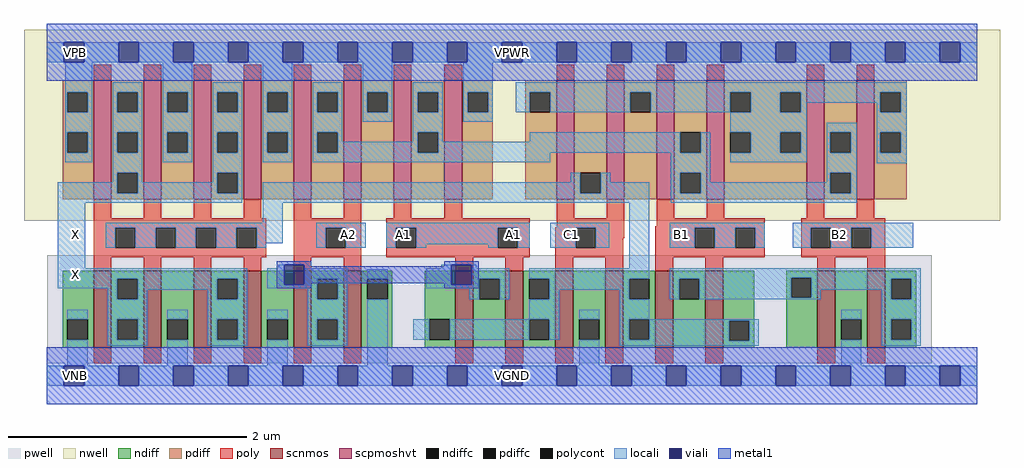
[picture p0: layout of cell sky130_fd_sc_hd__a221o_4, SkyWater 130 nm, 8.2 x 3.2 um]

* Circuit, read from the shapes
.subckt sky130_fd_sc_hd__a221o_4 A1 A2 B1 B2 C1 VGND VNB VPB VPWR X
XM1 X n1 VGND VNB sky130_fd_pr__nfet_01v8 w=0.65 l=0.15 m=4
XM2 n2 A2 VGND VNB sky130_fd_pr__nfet_01v8 w=0.65 l=0.15 m=2
XM3 n2 A1 n1 VNB sky130_fd_pr__nfet_01v8 w=0.65 l=0.15 m=2
XM4 VGND C1 n1 VNB sky130_fd_pr__nfet_01v8 w=0.65 l=0.15 m=2
XM5 n3 B1 n1 VNB sky130_fd_pr__nfet_01v8 w=0.65 l=0.15 m=2
XM6 VGND B2 n3 VNB sky130_fd_pr__nfet_01v8 w=0.65 l=0.15 m=2
XM7 X n1 VPWR VPB sky130_fd_pr__pfet_01v8_hvt w=1 l=0.15 m=4
XM8 n4 A2 VPWR VPB sky130_fd_pr__pfet_01v8_hvt w=1 l=0.15 m=2
XM9 n4 A1 VPWR VPB sky130_fd_pr__pfet_01v8_hvt w=1 l=0.15 m=2
XM10 n1 C1 n5 VPB sky130_fd_pr__pfet_01v8_hvt w=1 l=0.15 m=2
XM11 n4 B1 n5 VPB sky130_fd_pr__pfet_01v8_hvt w=1 l=0.15 m=2
XM12 n4 B2 n5 VPB sky130_fd_pr__pfet_01v8_hvt w=1 l=0.15 m=2
.ends

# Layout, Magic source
magic
tech sky130B
magscale 1 2
<< nwell >>
rect -38 261 1602 582
<< pwell >>
rect 1 21 1487 203
rect 31 -17 65 21
<< scnmos >>
rect 79 47 109 177
rect 163 47 193 177
rect 247 47 277 177
rect 331 47 361 177
rect 415 47 445 177
rect 499 47 529 177
rect 687 47 717 177
rect 771 47 801 177
rect 855 47 885 177
rect 939 47 969 177
rect 1023 47 1053 177
rect 1107 47 1137 177
rect 1295 47 1325 177
rect 1379 47 1409 177
<< scpmoshvt >>
rect 79 297 109 497
rect 163 297 193 497
rect 247 297 277 497
rect 331 297 361 497
rect 415 297 445 497
rect 499 297 529 497
rect 583 297 613 497
rect 668 297 698 497
rect 857 297 887 497
rect 941 297 971 497
rect 1025 297 1055 497
rect 1109 297 1139 497
rect 1277 297 1307 497
rect 1361 297 1391 497
<< ndiff >>
rect 27 95 79 177
rect 27 61 35 95
rect 69 61 79 95
rect 27 47 79 61
rect 109 163 163 177
rect 109 129 119 163
rect 153 129 163 163
rect 109 95 163 129
rect 109 61 119 95
rect 153 61 163 95
rect 109 47 163 61
rect 193 95 247 177
rect 193 61 203 95
rect 237 61 247 95
rect 193 47 247 61
rect 277 163 331 177
rect 277 129 287 163
rect 321 129 331 163
rect 277 95 331 129
rect 277 61 287 95
rect 321 61 331 95
rect 277 47 331 61
rect 361 95 415 177
rect 361 61 371 95
rect 405 61 415 95
rect 361 47 415 61
rect 445 163 499 177
rect 445 129 455 163
rect 489 129 499 163
rect 445 95 499 129
rect 445 61 455 95
rect 489 61 499 95
rect 445 47 499 61
rect 529 163 581 177
rect 529 129 539 163
rect 573 129 581 163
rect 529 47 581 129
rect 635 95 687 177
rect 635 61 643 95
rect 677 61 687 95
rect 635 47 687 61
rect 717 163 771 177
rect 717 129 727 163
rect 761 129 771 163
rect 717 47 771 129
rect 801 163 855 177
rect 801 129 811 163
rect 845 129 855 163
rect 801 95 855 129
rect 801 61 811 95
rect 845 61 855 95
rect 801 47 855 61
rect 885 95 939 177
rect 885 61 895 95
rect 929 61 939 95
rect 885 47 939 61
rect 969 163 1023 177
rect 969 129 979 163
rect 1013 129 1023 163
rect 969 95 1023 129
rect 969 61 979 95
rect 1013 61 1023 95
rect 969 47 1023 61
rect 1053 163 1107 177
rect 1053 129 1063 163
rect 1097 129 1107 163
rect 1053 47 1107 129
rect 1137 93 1189 177
rect 1137 59 1147 93
rect 1181 59 1189 93
rect 1137 47 1189 59
rect 1243 165 1295 177
rect 1243 131 1251 165
rect 1285 131 1295 165
rect 1243 47 1295 131
rect 1325 95 1379 177
rect 1325 61 1335 95
rect 1369 61 1379 95
rect 1325 47 1379 61
rect 1409 163 1461 177
rect 1409 129 1419 163
rect 1453 129 1461 163
rect 1409 95 1461 129
rect 1409 61 1419 95
rect 1453 61 1461 95
rect 1409 47 1461 61
<< pdiff >>
rect 27 477 79 497
rect 27 443 35 477
rect 69 443 79 477
rect 27 409 79 443
rect 27 375 35 409
rect 69 375 79 409
rect 27 297 79 375
rect 109 477 163 497
rect 109 443 119 477
rect 153 443 163 477
rect 109 409 163 443
rect 109 375 119 409
rect 153 375 163 409
rect 109 341 163 375
rect 109 307 119 341
rect 153 307 163 341
rect 109 297 163 307
rect 193 477 247 497
rect 193 443 203 477
rect 237 443 247 477
rect 193 409 247 443
rect 193 375 203 409
rect 237 375 247 409
rect 193 297 247 375
rect 277 477 331 497
rect 277 443 287 477
rect 321 443 331 477
rect 277 409 331 443
rect 277 375 287 409
rect 321 375 331 409
rect 277 341 331 375
rect 277 307 287 341
rect 321 307 331 341
rect 277 297 331 307
rect 361 477 415 497
rect 361 443 371 477
rect 405 443 415 477
rect 361 409 415 443
rect 361 375 371 409
rect 405 375 415 409
rect 361 297 415 375
rect 445 477 499 497
rect 445 443 455 477
rect 489 443 499 477
rect 445 409 499 443
rect 445 375 455 409
rect 489 375 499 409
rect 445 297 499 375
rect 529 477 583 497
rect 529 443 539 477
rect 573 443 583 477
rect 529 297 583 443
rect 613 477 668 497
rect 613 443 624 477
rect 658 443 668 477
rect 613 409 668 443
rect 613 375 624 409
rect 658 375 668 409
rect 613 297 668 375
rect 698 477 750 497
rect 698 443 708 477
rect 742 443 750 477
rect 698 297 750 443
rect 804 477 857 497
rect 804 443 812 477
rect 846 443 857 477
rect 804 297 857 443
rect 887 341 941 497
rect 887 307 897 341
rect 931 307 941 341
rect 887 297 941 307
rect 971 477 1025 497
rect 971 443 981 477
rect 1015 443 1025 477
rect 971 297 1025 443
rect 1055 409 1109 497
rect 1055 375 1065 409
rect 1099 375 1109 409
rect 1055 341 1109 375
rect 1055 307 1065 341
rect 1099 307 1109 341
rect 1055 297 1109 307
rect 1139 477 1277 497
rect 1139 443 1149 477
rect 1183 443 1233 477
rect 1267 443 1277 477
rect 1139 409 1277 443
rect 1139 375 1149 409
rect 1183 375 1233 409
rect 1267 375 1277 409
rect 1139 297 1277 375
rect 1307 409 1361 497
rect 1307 375 1317 409
rect 1351 375 1361 409
rect 1307 341 1361 375
rect 1307 307 1317 341
rect 1351 307 1361 341
rect 1307 297 1361 307
rect 1391 477 1445 497
rect 1391 443 1401 477
rect 1435 443 1445 477
rect 1391 409 1445 443
rect 1391 375 1401 409
rect 1435 375 1445 409
rect 1391 297 1445 375
<< ndiffc >>
rect 35 61 69 95
rect 119 129 153 163
rect 119 61 153 95
rect 203 61 237 95
rect 287 129 321 163
rect 287 61 321 95
rect 371 61 405 95
rect 455 129 489 163
rect 455 61 489 95
rect 539 129 573 163
rect 643 61 677 95
rect 727 129 761 163
rect 811 129 845 163
rect 811 61 845 95
rect 895 61 929 95
rect 979 129 1013 163
rect 979 61 1013 95
rect 1063 129 1097 163
rect 1147 59 1181 93
rect 1251 131 1285 165
rect 1335 61 1369 95
rect 1419 129 1453 163
rect 1419 61 1453 95
<< pdiffc >>
rect 35 443 69 477
rect 35 375 69 409
rect 119 443 153 477
rect 119 375 153 409
rect 119 307 153 341
rect 203 443 237 477
rect 203 375 237 409
rect 287 443 321 477
rect 287 375 321 409
rect 287 307 321 341
rect 371 443 405 477
rect 371 375 405 409
rect 455 443 489 477
rect 455 375 489 409
rect 539 443 573 477
rect 624 443 658 477
rect 624 375 658 409
rect 708 443 742 477
rect 812 443 846 477
rect 897 307 931 341
rect 981 443 1015 477
rect 1065 375 1099 409
rect 1065 307 1099 341
rect 1149 443 1183 477
rect 1233 443 1267 477
rect 1149 375 1183 409
rect 1233 375 1267 409
rect 1317 375 1351 409
rect 1317 307 1351 341
rect 1401 443 1435 477
rect 1401 375 1435 409
<< poly >>
rect 79 497 109 523
rect 163 497 193 523
rect 247 497 277 523
rect 331 497 361 523
rect 415 497 445 523
rect 499 497 529 523
rect 583 497 613 523
rect 668 497 698 523
rect 857 497 887 523
rect 941 497 971 523
rect 1025 497 1055 523
rect 1109 497 1139 523
rect 1277 497 1307 523
rect 1361 497 1391 523
rect 79 265 109 297
rect 163 265 193 297
rect 247 265 277 297
rect 331 265 361 297
rect 415 265 445 297
rect 499 265 529 297
rect 583 265 613 297
rect 668 265 698 297
rect 857 265 887 297
rect 941 265 971 297
rect 79 249 369 265
rect 79 215 115 249
rect 149 215 183 249
rect 217 215 251 249
rect 285 215 319 249
rect 353 215 369 249
rect 79 199 369 215
rect 415 249 529 265
rect 415 215 469 249
rect 503 215 529 249
rect 415 199 529 215
rect 571 249 812 265
rect 857 250 971 265
rect 1025 265 1055 297
rect 1109 265 1139 297
rect 1277 265 1307 297
rect 1361 265 1391 297
rect 1025 251 1207 265
rect 571 215 587 249
rect 621 215 758 249
rect 792 215 812 249
rect 571 199 812 215
rect 855 249 971 250
rect 855 215 889 249
rect 923 231 971 249
rect 1023 249 1207 251
rect 923 215 969 231
rect 855 199 969 215
rect 79 177 109 199
rect 163 177 193 199
rect 247 177 277 199
rect 331 177 361 199
rect 415 177 445 199
rect 499 177 529 199
rect 687 177 717 199
rect 771 177 801 199
rect 855 177 885 199
rect 939 177 969 199
rect 1023 215 1089 249
rect 1123 215 1157 249
rect 1191 215 1207 249
rect 1023 199 1207 215
rect 1268 249 1409 265
rect 1268 215 1284 249
rect 1318 215 1352 249
rect 1386 215 1409 249
rect 1268 199 1409 215
rect 1023 177 1053 199
rect 1107 177 1137 199
rect 1295 177 1325 199
rect 1379 177 1409 199
rect 79 21 109 47
rect 163 21 193 47
rect 247 21 277 47
rect 331 21 361 47
rect 415 21 445 47
rect 499 21 529 47
rect 687 21 717 47
rect 771 21 801 47
rect 855 21 885 47
rect 939 21 969 47
rect 1023 21 1053 47
rect 1107 21 1137 47
rect 1295 21 1325 47
rect 1379 21 1409 47
<< polycont >>
rect 115 215 149 249
rect 183 215 217 249
rect 251 215 285 249
rect 319 215 353 249
rect 469 215 503 249
rect 587 215 621 249
rect 758 215 792 249
rect 889 215 923 249
rect 1089 215 1123 249
rect 1157 215 1191 249
rect 1284 215 1318 249
rect 1352 215 1386 249
<< locali >>
rect 0 527 29 561
rect 63 527 121 561
rect 155 527 213 561
rect 247 527 305 561
rect 339 527 397 561
rect 431 527 489 561
rect 523 527 581 561
rect 615 527 673 561
rect 707 527 765 561
rect 799 527 857 561
rect 891 527 949 561
rect 983 527 1041 561
rect 1075 527 1133 561
rect 1167 527 1225 561
rect 1259 527 1317 561
rect 1351 527 1409 561
rect 1443 527 1501 561
rect 1535 527 1564 561
rect 31 477 77 527
rect 31 443 35 477
rect 69 443 77 477
rect 31 409 77 443
rect 31 375 35 409
rect 69 375 77 409
rect 31 359 77 375
rect 111 477 161 493
rect 111 443 119 477
rect 153 443 161 477
rect 111 409 161 443
rect 111 375 119 409
rect 153 375 161 409
rect 111 341 161 375
rect 195 477 245 527
rect 195 443 203 477
rect 237 443 245 477
rect 195 409 245 443
rect 195 375 203 409
rect 237 375 245 409
rect 195 359 245 375
rect 279 477 329 493
rect 279 443 287 477
rect 321 443 329 477
rect 279 409 329 443
rect 279 375 287 409
rect 321 375 329 409
rect 111 325 119 341
rect 19 307 119 325
rect 153 325 161 341
rect 279 341 329 375
rect 363 477 413 527
rect 363 443 371 477
rect 405 443 413 477
rect 363 409 413 443
rect 363 375 371 409
rect 405 375 413 409
rect 363 359 413 375
rect 447 477 497 493
rect 447 443 455 477
rect 489 443 497 477
rect 447 409 497 443
rect 531 477 581 527
rect 531 443 539 477
rect 573 443 581 477
rect 531 427 581 443
rect 615 477 666 493
rect 615 443 624 477
rect 658 443 666 477
rect 447 375 455 409
rect 489 393 497 409
rect 615 409 666 443
rect 700 477 750 527
rect 700 443 708 477
rect 742 443 750 477
rect 788 477 1445 493
rect 788 443 812 477
rect 846 443 981 477
rect 1015 443 1149 477
rect 1183 443 1233 477
rect 1267 459 1401 477
rect 1267 443 1277 459
rect 700 427 750 443
rect 1149 409 1277 443
rect 1395 443 1401 459
rect 1435 443 1445 477
rect 615 393 624 409
rect 489 375 624 393
rect 658 393 666 409
rect 812 393 1065 409
rect 658 375 1065 393
rect 1099 375 1115 409
rect 447 359 846 375
rect 1049 341 1115 375
rect 1183 375 1233 409
rect 1267 375 1277 409
rect 1149 359 1277 375
rect 1311 409 1361 425
rect 1311 375 1317 409
rect 1351 375 1361 409
rect 279 325 287 341
rect 153 307 287 325
rect 321 307 329 341
rect 881 325 897 341
rect 19 291 329 307
rect 363 307 897 325
rect 931 325 947 341
rect 931 307 1013 325
rect 363 291 1013 307
rect 1049 307 1065 341
rect 1099 325 1115 341
rect 1311 341 1361 375
rect 1395 409 1445 443
rect 1395 375 1401 409
rect 1435 375 1445 409
rect 1395 357 1445 375
rect 1311 325 1317 341
rect 1099 307 1317 325
rect 1351 307 1361 341
rect 1049 291 1361 307
rect 19 181 65 291
rect 363 257 397 291
rect 99 249 397 257
rect 99 215 115 249
rect 149 215 183 249
rect 217 215 251 249
rect 285 215 319 249
rect 353 223 397 249
rect 453 249 536 257
rect 353 215 369 223
rect 453 215 469 249
rect 503 215 536 249
rect 571 249 812 257
rect 571 215 587 249
rect 621 221 758 249
rect 621 215 638 221
rect 742 215 758 221
rect 792 215 812 249
rect 846 249 945 257
rect 846 215 889 249
rect 923 215 945 249
rect 389 181 399 187
rect 19 163 337 181
rect 19 147 119 163
rect 103 129 119 147
rect 153 145 287 163
rect 153 129 169 145
rect 35 95 69 111
rect 35 17 69 61
rect 103 95 169 129
rect 271 129 287 145
rect 321 129 337 163
rect 371 153 399 181
rect 663 181 680 187
rect 433 163 505 181
rect 433 153 455 163
rect 371 147 455 153
rect 103 61 119 95
rect 153 61 169 95
rect 103 51 169 61
rect 203 95 237 111
rect 203 17 237 61
rect 271 95 337 129
rect 439 129 455 147
rect 489 129 505 163
rect 271 61 287 95
rect 321 61 337 95
rect 271 51 337 61
rect 371 95 405 111
rect 371 17 405 61
rect 439 95 505 129
rect 439 61 455 95
rect 489 61 505 95
rect 439 51 505 61
rect 539 163 573 179
rect 638 153 680 181
rect 714 181 722 187
rect 979 181 1013 291
rect 1047 249 1207 257
rect 1047 215 1089 249
rect 1123 215 1157 249
rect 1191 215 1207 249
rect 1254 249 1456 257
rect 1254 215 1284 249
rect 1318 215 1352 249
rect 1386 215 1456 249
rect 714 163 777 181
rect 714 153 727 163
rect 638 147 727 153
rect 710 129 727 147
rect 761 129 777 163
rect 811 163 1013 181
rect 845 145 979 163
rect 845 129 861 145
rect 539 17 573 129
rect 811 95 861 129
rect 963 129 979 145
rect 1047 165 1469 181
rect 1047 163 1251 165
rect 1047 129 1063 163
rect 1097 131 1251 163
rect 1285 163 1469 165
rect 1285 145 1419 163
rect 1285 131 1301 145
rect 1097 129 1301 131
rect 1403 129 1419 145
rect 1453 129 1469 163
rect 616 61 643 95
rect 677 61 811 95
rect 845 61 861 95
rect 895 95 929 111
rect 895 17 929 61
rect 963 95 1013 129
rect 1335 95 1369 111
rect 963 61 979 95
rect 1013 93 1197 95
rect 1013 61 1147 93
rect 963 59 1147 61
rect 1181 59 1197 93
rect 963 51 1197 59
rect 1335 17 1369 61
rect 1403 95 1469 129
rect 1403 61 1419 95
rect 1453 61 1469 95
rect 1403 51 1469 61
rect 0 -17 29 17
rect 63 -17 121 17
rect 155 -17 213 17
rect 247 -17 305 17
rect 339 -17 397 17
rect 431 -17 489 17
rect 523 -17 581 17
rect 615 -17 673 17
rect 707 -17 765 17
rect 799 -17 857 17
rect 891 -17 949 17
rect 983 -17 1041 17
rect 1075 -17 1133 17
rect 1167 -17 1225 17
rect 1259 -17 1317 17
rect 1351 -17 1409 17
rect 1443 -17 1501 17
rect 1535 -17 1564 17
<< viali >>
rect 29 527 63 561
rect 121 527 155 561
rect 213 527 247 561
rect 305 527 339 561
rect 397 527 431 561
rect 489 527 523 561
rect 581 527 615 561
rect 673 527 707 561
rect 765 527 799 561
rect 857 527 891 561
rect 949 527 983 561
rect 1041 527 1075 561
rect 1133 527 1167 561
rect 1225 527 1259 561
rect 1317 527 1351 561
rect 1409 527 1443 561
rect 1501 527 1535 561
rect 399 153 433 187
rect 680 153 714 187
rect 29 -17 63 17
rect 121 -17 155 17
rect 213 -17 247 17
rect 305 -17 339 17
rect 397 -17 431 17
rect 489 -17 523 17
rect 581 -17 615 17
rect 673 -17 707 17
rect 765 -17 799 17
rect 857 -17 891 17
rect 949 -17 983 17
rect 1041 -17 1075 17
rect 1133 -17 1167 17
rect 1225 -17 1259 17
rect 1317 -17 1351 17
rect 1409 -17 1443 17
rect 1501 -17 1535 17
<< metal1 >>
rect 0 561 1564 592
rect 0 527 29 561
rect 63 527 121 561
rect 155 527 213 561
rect 247 527 305 561
rect 339 527 397 561
rect 431 527 489 561
rect 523 527 581 561
rect 615 527 673 561
rect 707 527 765 561
rect 799 527 857 561
rect 891 527 949 561
rect 983 527 1041 561
rect 1075 527 1133 561
rect 1167 527 1225 561
rect 1259 527 1317 561
rect 1351 527 1409 561
rect 1443 527 1501 561
rect 1535 527 1564 561
rect 0 496 1564 527
rect 387 187 445 193
rect 387 153 399 187
rect 433 184 445 187
rect 668 187 726 193
rect 668 184 680 187
rect 433 156 680 184
rect 433 153 445 156
rect 387 147 445 153
rect 668 153 680 156
rect 714 153 726 187
rect 668 147 726 153
rect 0 17 1564 48
rect 0 -17 29 17
rect 63 -17 121 17
rect 155 -17 213 17
rect 247 -17 305 17
rect 339 -17 397 17
rect 431 -17 489 17
rect 523 -17 581 17
rect 615 -17 673 17
rect 707 -17 765 17
rect 799 -17 857 17
rect 891 -17 949 17
rect 983 -17 1041 17
rect 1075 -17 1133 17
rect 1167 -17 1225 17
rect 1259 -17 1317 17
rect 1351 -17 1409 17
rect 1443 -17 1501 17
rect 1535 -17 1564 17
rect 0 -48 1564 -17
<< labels >>
flabel locali s 583 221 617 255 0 FreeSans 400 0 0 0 A1
port 1 nsew signal input
flabel locali s 1049 221 1083 255 0 FreeSans 400 0 0 0 B1
port 3 nsew signal input
flabel locali s 865 221 899 255 0 FreeSans 400 0 0 0 C1
port 5 nsew signal input
flabel locali s 1316 221 1350 255 0 FreeSans 400 0 0 0 B2
port 4 nsew signal input
flabel locali s 31 221 65 255 0 FreeSans 400 0 0 0 X
port 10 nsew signal output
flabel locali s 491 221 525 255 0 FreeSans 400 0 0 0 A2
port 2 nsew signal input
flabel locali s 31 153 65 187 0 FreeSans 400 0 0 0 X
port 10 nsew signal output
flabel locali s 768 221 802 255 0 FreeSans 400 0 0 0 A1
port 1 nsew signal input
flabel pwell s 31 -17 65 17 0 FreeSans 200 0 0 0 VNB
port 7 nsew ground bidirectional
flabel nwell s 31 527 65 561 0 FreeSans 200 0 0 0 VPB
port 8 nsew power bidirectional
flabel metal1 s 31 527 65 561 0 FreeSans 200 0 0 0 VPWR
port 9 nsew power bidirectional abutment
flabel metal1 s 31 -17 65 17 0 FreeSans 200 0 0 0 VGND
port 6 nsew ground bidirectional abutment
rlabel comment s 0 0 0 0 4 a221o_4
rlabel metal1 s 0 -48 1564 48 1 VGND
port 6 nsew ground bidirectional abutment
rlabel metal1 s 0 496 1564 592 1 VPWR
port 9 nsew power bidirectional abutment
<< properties >>
string FIXED_BBOX 0 0 1564 544
string GDS_END 3575720
string GDS_FILE $PDKPATH/libs.ref/sky130_fd_sc_hd/gds/sky130_fd_sc_hd.gds
string GDS_START 3563530
string LEFclass CORE
string LEFsite unithd
string LEFsymmetry X Y R90
string path 0.000 0.000 39.100 0.000 
<< end >>
